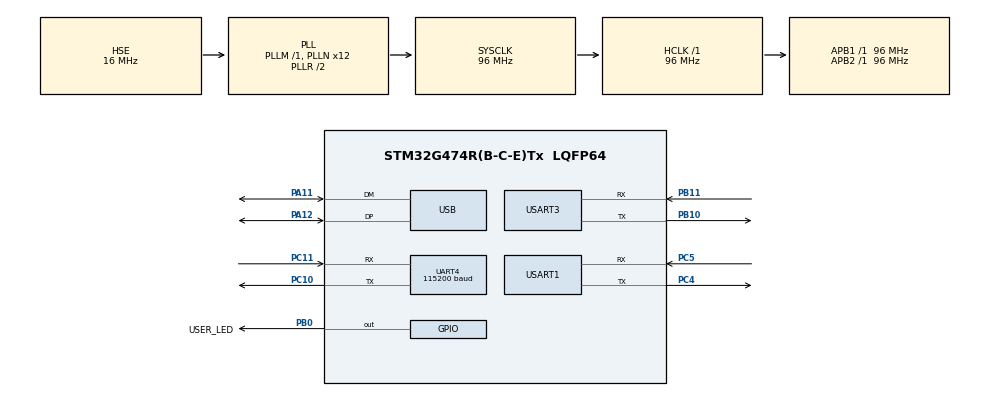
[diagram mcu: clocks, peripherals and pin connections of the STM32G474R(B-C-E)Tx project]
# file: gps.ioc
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IWDG.Prescaler=IWDG_PRESCALER_32
IWDG.Reload=999
IWDG.Window=999
Mcu.Family=STM32G4
Mcu.Name=STM32G474R(B-C-E)Tx
Mcu.Package=LQFP64
NVIC.PriorityGroup=NVIC_PRIORITYGROUP_4
NVIC.UART4_IRQn=true\:0\:0\:false\:false\:true\:true\:true\:true
NVIC.USART1_IRQn=true\:0\:0\:false\:false\:true\:true\:true\:true
NVIC.USART3_IRQn=true\:0\:0\:false\:false\:true\:true\:true\:true
NVIC.USB_HP_IRQn=true\:0\:0\:false\:false\:true\:true\:true\:true
NVIC.USB_LP_IRQn=true\:0\:0\:false\:false\:true\:true\:true\:true
PA11.Mode=Device
PA11.Signal=USB_DM
PA12.Mode=Device
PA12.Signal=USB_DP
PA13.Mode=Trace_Asynchronous_SW
PA13.Signal=SYS_JTMS-SWDIO
PA14.Mode=Trace_Asynchronous_SW
PA14.Signal=SYS_JTCK-SWCLK
PB0.GPIO_Label=USER_LED
PB0.Signal=GPIO_Output
PB10.Mode=Asynchronous
PB10.Signal=USART3_TX
PB11.Mode=Asynchronous
PB11.Signal=USART3_RX
PB3.Mode=Trace_Asynchronous_SW
PB3.Signal=SYS_JTDO-SWO
PC10.Mode=Asynchronous
PC10.Signal=UART4_TX
PC11.Mode=Asynchronous
PC11.Signal=UART4_RX
PC4.Mode=Asynchronous
PC4.Signal=USART1_TX
PC5.Mode=Asynchronous
PC5.Signal=USART1_RX
PF0-OSC_IN.Mode=HSE-External-Oscillator
PF0-OSC_IN.Signal=RCC_OSC_IN
PF1-OSC_OUT.Mode=HSE-External-Oscillator
PF1-OSC_OUT.Signal=RCC_OSC_OUT
ProjectManager.HeapSize=0x200
ProjectManager.StackSize=0x400
ProjectManager.TargetToolchain=CMake
RCC.ADC12Freq_Value=96000000
RCC.ADC345Freq_Value=96000000
RCC.AHBFreq_Value=96000000
RCC.APB1Freq_Value=96000000
RCC.APB1TimFreq_Value=96000000
RCC.APB2Freq_Value=96000000
RCC.APB2TimFreq_Value=96000000
RCC.CortexFreq_Value=96000000
RCC.EXTERNAL_CLOCK_VALUE=12288000
RCC.HCLKFreq_Value=96000000
RCC.HSE_VALUE=16000000
RCC.HSI48_VALUE=48000000
RCC.HSI_VALUE=16000000
RCC.LSE_VALUE=32768
RCC.PLLN=12
RCC.PLLQ=RCC_PLLQ_DIV4
RCC.PLLSourceVirtual=RCC_PLLSOURCE_HSE
RCC.SYSCLKFreq_VALUE=96000000
RCC.SYSCLKSource=RCC_SYSCLKSOURCE_PLLCLK
RCC.USBFreq_Value=48000000
RCC.VCOOutputFreq_Value=192000000
UART4.AutoBaudRateEnableParam=UART_ADVFEATURE_AUTOBAUDRATE_DISABLE
UART4.BaudRate=115200
UART4.ClockPrescaler=PRESCALER_DIV1
USART1.VirtualMode-Asynchronous=VM_ASYNC
USART3.VirtualMode-Asynchronous=VM_ASYNC
VP_IWDG_VS_IWDG.Mode=IWDG_Activate
VP_SYS_VS_DBSignals.Mode=DisableDeadBatterySignals
board=custom

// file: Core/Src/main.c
/* USER CODE BEGIN Header */
/**
  ******************************************************************************
  * @file           : main.c
  * @brief          : Main program body
  ******************************************************************************
  * @attention
  *
  * Copyright (c) 2026 STMicroelectronics.
  * All rights reserved.
  *
  * This software is licensed under terms that can be found in the LICENSE file
  * in the root directory of this software component.
  * If no LICENSE file comes with this software, it is provided AS-IS.
  *
  ******************************************************************************
  */
/* USER CODE END Header */
#include "main.h"

/* USER CODE BEGIN Includes */
#include "class/cdc/cdc_device.h"
#include "cmsis_gcc.h"
#include "stm32g474xx.h"
#include "stm32g4xx_hal_def.h"
#include "stm32g4xx_hal_gpio.h"
#include "stm32g4xx_hal_uart.h"
#include "stm32g4xx_hal_uart_ex.h"
#include "tinygps.h"
#include "rosjam.h"
#include "tusb_config.h"
#include "tusb.h"
#include "cobs.h"
#include <stdbool.h>
#include <stdint.h>
#include <stdio.h>
#include <string.h>

/* USER CODE END Includes */

/* USER CODE BEGIN PD */
#define WATCHDOG_ENABLE
/* USER CODE END PD */

IWDG_HandleTypeDef hiwdg;

UART_HandleTypeDef huart4;
UART_HandleTypeDef huart1;
UART_HandleTypeDef huart3;

PCD_HandleTypeDef hpcd_USB_FS;

/* USER CODE BEGIN PV */
// Bridges three UARTs (GPS on USART3, pantilt on USART1, and terminal on UART4)
// to a host over USB CDC, with each message framed as COBS([type][payload])

// Define ms between reporting of diagnostic data (valid/error GPS packets received)
#define DIAG_REPORT_PERIOD_MS 500

#define GPS_TYPE GPS_UBX

char satellites[50];
char latitude[50];
char longitude[50];
char heading[50];

gps_t gps;

#define GPS_BUFFER_SIZE (UBX_MAX_PAYLOAD)
static uint8_t gps_buffers[2][GPS_BUFFER_SIZE];
static int buffer_sizes[2];
static volatile int gps_index = 0;        // Buffer currently armed for receive
static int gps_ready[2] = {0, 0}; // Buffers holding bytes not yet run through gps_process()

UART_HandleTypeDef *pantilt_uart = &huart1;

// Pantilt expects lines as "pan,tilt\n" (type 'p')
// Rest is forwarded as type 's' (status) so malformed data is still visible to host
#define PANTILT_BUFFER_SIZE 100
static uint8_t pantilt_buffers[2][PANTILT_BUFFER_SIZE];
static volatile int pantilt_index = 0;
volatile int pantilt_ready = 0;

UART_HandleTypeDef *term_uart = &huart4;

// Terminal relayed to/from the host as opaque type 't' payloads
#define TERM_BUFFER_SIZE 100
static uint8_t term_buffers[2][TERM_BUFFER_SIZE];
static volatile int term_index = 0;
static volatile int term_ready = 0;
static volatile uint16_t term_size = 0;

// Commands from the host over USB
// Decoded in chunks from USB CDC using COBS until a full command is found
#define CMD_BUFFER_SIZE 256
static uint8_t cmd_buf[CMD_BUFFER_SIZE];
static int cmd_len = 0;
static bool cmd_overflow = false; // Drop frame if exceeded CMD_BUFFER_SIZE
static cobs_reader_t usb_cobs_reader;
static uint8_t usb_chunk[64];
static uint32_t usb_chunk_len = 0;

// Diagnostic drop/error counters, reported periodically via send_frame('d', ...)
static volatile uint32_t usb_tx_dropped = 0;
static volatile uint32_t uart_errors = 0;

// Byte ring buffer for outbound UART data queued while a previous
#define TXQ_SIZE 512            // Must be power of two
#define TXQ_MASK (TXQ_SIZE - 1) // Use for heat/tail wrap using bitmask

typedef struct {
  UART_HandleTypeDef *huart;
  uint8_t  buf[TXQ_SIZE];
  volatile uint16_t head;     // Next free slot to write to
  volatile uint16_t tail;     // Last unsent byte
  volatile uint16_t inflight; // Bytes in the current transmit
  volatile uint8_t  busy;     // Transmit currently in flight
  volatile uint32_t dropped;
} txq_t;

static txq_t pantilt_txq;
static txq_t term_txq;
/* USER CODE END PV */

void SystemClock_Config(void);
static void MX_GPIO_Init(void);
static void MX_USB_PCD_Init(void);
static void MX_UART4_Init(void);
static void MX_USART3_UART_Init(void);
static void MX_USART1_UART_Init(void);
static void MX_IWDG_Init(void);

/* USER CODE BEGIN 0 */

// Enqueues n bytes for later transmission. Returns 0 and counts a drop if they don't fit.
static int txq_push(txq_t *q, const uint8_t *d, int n) {
  uint16_t head = q->head;
  uint16_t used = (uint16_t)(head - q->tail) & TXQ_MASK;

  if (n < 0 || (uint16_t)n > (TXQ_MASK - used)) {
    q->dropped++;
    return 0;
  }

  for (int i = 0; i < n; i++) q->buf[(head + i) & TXQ_MASK] = d[i];
  q->head = (uint16_t)(head + n) & TXQ_MASK;
  return 1;
}

// Starts the next transmit chunk if the UART is idle and data is queued for main loop only
// Only sends up to the end of the array when the data wraps (head < tail), rest on next call
static void txq_kick(txq_t *q) {
  if (q->busy) return;
  uint16_t head = q->head;
  uint16_t tail = q->tail;
  if (head == tail) return;
  uint16_t len = (head > tail) ? (uint16_t)(head - tail) : (uint16_t)(TXQ_SIZE - tail);

  q->busy = 1;
  q->inflight = len;
  if (HAL_UART_Transmit_IT(q->huart, &q->buf[tail], len) != HAL_OK) q->busy = 0;
}

// Encodes [type][payload] as one COBS frame and writes it to USB CDC
// Flushes first to not merge with previous write
static void send_frame(uint8_t type, const uint8_t *payload, int payload_len) {
  tud_cdc_n_write_flush(USB_CDC_ITF);
  uint8_t raw[CMD_BUFFER_SIZE];
  uint8_t encoded[cobs_estimate_encoded_size(CMD_BUFFER_SIZE)]; // Worst case COBS overhead
  if (payload_len < 0 || payload_len > (int)sizeof(raw) - 1) return;
  raw[0] = type;
  if (payload_len > 0) memcpy(raw + 1, payload, payload_len);
  int n = cobs_encode(raw, payload_len + 1, encoded, sizeof(encoded), 0);
  if (n <= 0) return;
  if (tud_cdc_n_write_available(USB_CDC_ITF) < (uint32_t)n) { usb_tx_dropped++; return; }
  send_msg_raw((char*)encoded, n);
}

// Dispatches one decoded [type][payload] USB frame from the host
// - 'p' = line for the pan/tilt UART
// - 't' = raw bytes for the terminal UART.
static void process_usb_frame(uint8_t *frame, int len) {
  if (len < 1) return;
  uint8_t type = frame[0];
  uint8_t *payload = frame + 1;
  int payload_len = len - 1;

  switch (type) {
    case 'p':
      if (payload_len > 0 && payload_len < 100) {
        uint8_t line[100];
        memcpy(line, payload, payload_len);
        line[payload_len] = '\n';
        txq_push(&pantilt_txq, line, payload_len + 1);
      }
      break;
    case 't':
      txq_push(&term_txq, payload, payload_len);
      break;
  }
}
/* USER CODE END 0 */

int main(void)
{

  /* MCU Configuration--------------------------------------------------------*/

  /* Reset of all peripherals, Initializes the Flash interface and the Systick. */
  HAL_Init();

  /* Configure the system clock */
  SystemClock_Config();

  /* Initialize all configured peripherals */
  MX_GPIO_Init();
  MX_USB_PCD_Init();
  MX_UART4_Init();
  MX_USART3_UART_Init();
  MX_USART1_UART_Init();
  MX_IWDG_Init();
  /* USER CODE BEGIN 2 */
  setup_simple();
  cobs_setup_stream_reader(&usb_cobs_reader);
  pantilt_txq.huart = pantilt_uart;
  term_txq.huart = term_uart;

  gps_init(&gps, GPS_TYPE, &huart3, true);
  HAL_UARTEx_ReceiveToIdle_IT(gps.huart, gps_buffers[gps_index], GPS_BUFFER_SIZE);

  HAL_UARTEx_ReceiveToIdle_IT(pantilt_uart, pantilt_buffers[pantilt_index], PANTILT_BUFFER_SIZE);
  HAL_UARTEx_ReceiveToIdle_IT(term_uart, term_buffers[term_index], TERM_BUFFER_SIZE);
  /* USER CODE END 2 */

  /* Infinite loop */
  /* USER CODE BEGIN WHILE */
  while (!tud_cdc_ready()){
    process_simple(); // Keep USB connection running until ready
#ifdef WATCHDOG_ENABLE
    HAL_IWDG_Refresh(&hiwdg);
#endif
  }

  char* startup_message = "GPS Ready";
  send_frame('s', (uint8_t*) startup_message, strlen(startup_message));

  while (1) {
    // Drain the GPS buffer not currently being filled
    if (gps_ready[0] || gps_ready[1]) {
      int gps_filled_index = (gps_index == 0) ? 1 : 0;
      if (gps_ready[gps_filled_index] != 0){
        uint8_t *buf = gps_buffers[gps_filled_index];
        for (int i = 0; i < buffer_sizes[gps_filled_index]; i++) gps_process(&gps, buf[i]);
        gps_ready[gps_filled_index] = 0;
      }
    }

    gps_data_t data;
    bool got_fix = gps_read_snapshot(&gps, &data);
    if (got_fix) {
      HAL_GPIO_TogglePin(USER_LED_GPIO_Port, USER_LED_Pin); // Blink LED for GPS processing

      int_to_string(data.numSV, satellites, 50);
      float_to_string(data.lat, 8, latitude, 50);
      float_to_string(data.lon, 8, longitude, 50);
      float_to_string(data.headMot, 8, heading, 50);

      char gps_payload[200];
      int gps_payload_len = snprintf(gps_payload, sizeof(gps_payload), "%s,%s,%s,%s", satellites, latitude, longitude, heading);
      send_frame('g', (uint8_t*)gps_payload, gps_payload_len);
    }

    // Diagnostic data to check whether GPS is working as expected
    static uint32_t last_status_tick = 0;
    uint32_t now = HAL_GetTick();
    if (now - last_status_tick >= DIAG_REPORT_PERIOD_MS) {
      last_status_tick = now;
      char status_payload[64];
      int status_len = snprintf(status_payload, sizeof(status_payload), "%lu,%lu,%lu,%lu,%lu,%lu",
        (unsigned long)gps_get_valid_frames(&gps), (unsigned long)gps_get_error_frames(&gps),
        (unsigned long)pantilt_txq.dropped, (unsigned long)term_txq.dropped,
        (unsigned long)usb_tx_dropped, (unsigned long)uart_errors);
      send_frame('d', (uint8_t*)status_payload, status_len);
    }

    // Send pantilt angle reporting to Jetson. A valid line is "pan,tilt\n"
    // Otherwise, send as status message from pantilt
    if (pantilt_ready == 1) {
      int pantilt_filled_index = (pantilt_index == 0) ? 1 : 0;
      char *parsed = (char*)pantilt_buffers[pantilt_filled_index];
      int comma_count = 0;
      int newline_pos = -1;

      for (int i = 0; i < PANTILT_BUFFER_SIZE - 1; i++) {
        if (parsed[i] == ',') comma_count++;
        if (parsed[i] == '\n') {
          newline_pos = i;
          break;
        }
      }

      if (comma_count == 1 && newline_pos >= 0) {
        send_frame('p', (uint8_t*)parsed, newline_pos);
      } else {
        send_frame('s', (uint8_t*)parsed, newline_pos);
      }

      pantilt_ready = 0;
    }

    // Send terminal output to Jetson
    if (term_ready) {
      int term_filled_index = (term_index == 0) ? 1 : 0;
      send_frame('t', term_buffers[term_filled_index], term_size);
      term_ready = 0;
    }

    // Pull chunk sent over USB CDC into usb_chunk for decode
    if (usb_chunk_len < sizeof(usb_chunk)) {
      usb_chunk_len += tud_cdc_n_read(USB_CDC_ITF, usb_chunk + usb_chunk_len, sizeof(usb_chunk) - usb_chunk_len);
    }

    if (usb_chunk_len > 0) {
      cobs_result_t r = cobs_stream_decode(&usb_cobs_reader, usb_chunk, usb_chunk_len,
                                            cmd_buf + cmd_len, CMD_BUFFER_SIZE - cmd_len, 0);
      cmd_len += usb_cobs_reader.last_written_bytes;

      if (r == COBS_INCOMPLETE_FRAME) {
        // Frame not finished, cmd_len keeps what is currently decoded for next iteration
        usb_chunk_len = 0;
      } else {
        uint32_t consumed = usb_cobs_reader.last_read_bytes;

        if (r == COBS_DONE) {
          if (!cmd_overflow) process_usb_frame(cmd_buf, cmd_len);
          cmd_len = 0;
          cmd_overflow = false;
        } else if (r == COBS_OUTPUT_FULL) {
          // Frame too big for cmd_buf, drops command
          cmd_len = 0;
          cmd_overflow = true;
        } else if (r == COBS_RESET) {
          cmd_len = 0;
          cmd_overflow = false;
        }

        // Shift unconsumed bytes (e.g. frame ending mid-chunk) to the front for next iteration
        uint32_t leftover = usb_chunk_len - consumed;
        if (leftover > 0 && consumed > 0) memmove(usb_chunk, usb_chunk + consumed, leftover);
        usb_chunk_len = leftover;
      }
    }

    txq_kick(&pantilt_txq);
    txq_kick(&term_txq);

    process_simple();

#ifdef WATCHDOG_ENABLE
    HAL_IWDG_Refresh(&hiwdg);
#endif
    /* USER CODE END WHILE */

  }
}

void SystemClock_Config(void)
{
  RCC_OscInitTypeDef RCC_OscInitStruct = {0};
  RCC_ClkInitTypeDef RCC_ClkInitStruct = {0};

  /** Configure the main internal regulator output voltage
  */
  HAL_PWREx_ControlVoltageScaling(PWR_REGULATOR_VOLTAGE_SCALE1);

  /** Initializes the RCC Oscillators according to the specified parameters
  * in the RCC_OscInitTypeDef structure.
  */
  RCC_OscInitStruct.OscillatorType = RCC_OSCILLATORTYPE_LSI|RCC_OSCILLATORTYPE_HSE;
  RCC_OscInitStruct.HSEState = RCC_HSE_ON;
  RCC_OscInitStruct.LSIState = RCC_LSI_ON;
  RCC_OscInitStruct.PLL.PLLState = RCC_PLL_ON;
  RCC_OscInitStruct.PLL.PLLSource = RCC_PLLSOURCE_HSE;
  RCC_OscInitStruct.PLL.PLLM = RCC_PLLM_DIV1;
  RCC_OscInitStruct.PLL.PLLN = 12;
  RCC_OscInitStruct.PLL.PLLP = RCC_PLLP_DIV2;
  RCC_OscInitStruct.PLL.PLLQ = RCC_PLLQ_DIV4;
  RCC_OscInitStruct.PLL.PLLR = RCC_PLLR_DIV2;
  if (HAL_RCC_OscConfig(&RCC_OscInitStruct) != HAL_OK)
  {
    Error_Handler();
  }

  /** Initializes the CPU, AHB and APB buses clocks
  */
  RCC_ClkInitStruct.ClockType = RCC_CLOCKTYPE_HCLK|RCC_CLOCKTYPE_SYSCLK
                              |RCC_CLOCKTYPE_PCLK1|RCC_CLOCKTYPE_PCLK2;
  RCC_ClkInitStruct.SYSCLKSource = RCC_SYSCLKSOURCE_PLLCLK;
  RCC_ClkInitStruct.AHBCLKDivider = RCC_SYSCLK_DIV1;
  RCC_ClkInitStruct.APB1CLKDivider = RCC_HCLK_DIV1;
  RCC_ClkInitStruct.APB2CLKDivider = RCC_HCLK_DIV1;

  if (HAL_RCC_ClockConfig(&RCC_ClkInitStruct, FLASH_LATENCY_3) != HAL_OK)
  {
    Error_Handler();
  }
}

static void MX_IWDG_Init(void)
{

  /* USER CODE BEGIN IWDG_Init 0 */
#ifndef WATCHDOG_ENABLE
  return;
#endif
  /* USER CODE END IWDG_Init 0 */

  hiwdg.Instance = IWDG;
  hiwdg.Init.Prescaler = IWDG_PRESCALER_32;
  hiwdg.Init.Window = 999;
  hiwdg.Init.Reload = 999;
  if (HAL_IWDG_Init(&hiwdg) != HAL_OK)
  {
    Error_Handler();
  }

}

static void MX_UART4_Init(void)
{

  huart4.Instance = UART4;
  huart4.Init.BaudRate = 115200;
  huart4.Init.WordLength = UART_WORDLENGTH_8B;
  huart4.Init.StopBits = UART_STOPBITS_1;
  huart4.Init.Parity = UART_PARITY_NONE;
  huart4.Init.Mode = UART_MODE_TX_RX;
  huart4.Init.HwFlowCtl = UART_HWCONTROL_NONE;
  huart4.Init.OverSampling = UART_OVERSAMPLING_16;
  huart4.Init.OneBitSampling = UART_ONE_BIT_SAMPLE_DISABLE;
  huart4.Init.ClockPrescaler = UART_PRESCALER_DIV1;
  huart4.AdvancedInit.AdvFeatureInit = UART_ADVFEATURE_NO_INIT;
  if (HAL_UART_Init(&huart4) != HAL_OK)
  {
    Error_Handler();
  }
  if (HAL_UARTEx_SetTxFifoThreshold(&huart4, UART_TXFIFO_THRESHOLD_1_8) != HAL_OK)
  {
    Error_Handler();
  }
  if (HAL_UARTEx_SetRxFifoThreshold(&huart4, UART_RXFIFO_THRESHOLD_1_8) != HAL_OK)
  {
    Error_Handler();
  }
  if (HAL_UARTEx_DisableFifoMode(&huart4) != HAL_OK)
  {
    Error_Handler();
  }

}

static void MX_USART1_UART_Init(void)
{

  huart1.Instance = USART1;
  huart1.Init.BaudRate = 115200;
  huart1.Init.WordLength = UART_WORDLENGTH_8B;
  huart1.Init.StopBits = UART_STOPBITS_1;
  huart1.Init.Parity = UART_PARITY_NONE;
  huart1.Init.Mode = UART_MODE_TX_RX;
  huart1.Init.HwFlowCtl = UART_HWCONTROL_NONE;
  huart1.Init.OverSampling = UART_OVERSAMPLING_16;
  huart1.Init.OneBitSampling = UART_ONE_BIT_SAMPLE_DISABLE;
  huart1.Init.ClockPrescaler = UART_PRESCALER_DIV1;
  huart1.AdvancedInit.AdvFeatureInit = UART_ADVFEATURE_NO_INIT;
  if (HAL_UART_Init(&huart1) != HAL_OK)
  {
    Error_Handler();
  }
  if (HAL_UARTEx_SetTxFifoThreshold(&huart1, UART_TXFIFO_THRESHOLD_1_8) != HAL_OK)
  {
    Error_Handler();
  }
  if (HAL_UARTEx_SetRxFifoThreshold(&huart1, UART_RXFIFO_THRESHOLD_1_8) != HAL_OK)
  {
    Error_Handler();
  }
  if (HAL_UARTEx_DisableFifoMode(&huart1) != HAL_OK)
  {
    Error_Handler();
  }

}

static void MX_USART3_UART_Init(void)
{

  huart3.Instance = USART3;
  huart3.Init.BaudRate = 115200;
  huart3.Init.WordLength = UART_WORDLENGTH_8B;
  huart3.Init.StopBits = UART_STOPBITS_1;
  huart3.Init.Parity = UART_PARITY_NONE;
  huart3.Init.Mode = UART_MODE_TX_RX;
  huart3.Init.HwFlowCtl = UART_HWCONTROL_NONE;
  huart3.Init.OverSampling = UART_OVERSAMPLING_16;
  huart3.Init.OneBitSampling = UART_ONE_BIT_SAMPLE_DISABLE;
  huart3.Init.ClockPrescaler = UART_PRESCALER_DIV1;
  huart3.AdvancedInit.AdvFeatureInit = UART_ADVFEATURE_NO_INIT;
  if (HAL_UART_Init(&huart3) != HAL_OK)
  {
    Error_Handler();
  }
  if (HAL_UARTEx_SetTxFifoThreshold(&huart3, UART_TXFIFO_THRESHOLD_1_8) != HAL_OK)
  {
    Error_Handler();
  }
  if (HAL_UARTEx_SetRxFifoThreshold(&huart3, UART_RXFIFO_THRESHOLD_1_8) != HAL_OK)
  {
    Error_Handler();
  }
  if (HAL_UARTEx_DisableFifoMode(&huart3) != HAL_OK)
  {
    Error_Handler();
  }

}

static void MX_USB_PCD_Init(void)
{

  hpcd_USB_FS.Instance = USB;
  hpcd_USB_FS.Init.dev_endpoints = 8;
  hpcd_USB_FS.Init.speed = PCD_SPEED_FULL;
  hpcd_USB_FS.Init.phy_itface = PCD_PHY_EMBEDDED;
  hpcd_USB_FS.Init.Sof_enable = DISABLE;
  hpcd_USB_FS.Init.low_power_enable = DISABLE;
  hpcd_USB_FS.Init.lpm_enable = DISABLE;
  hpcd_USB_FS.Init.battery_charging_enable = DISABLE;
  if (HAL_PCD_Init(&hpcd_USB_FS) != HAL_OK)
  {
    Error_Handler();
  }

}

static void MX_GPIO_Init(void)
{
  GPIO_InitTypeDef GPIO_InitStruct = {0};

  /* GPIO Ports Clock Enable */
  __HAL_RCC_GPIOF_CLK_ENABLE();
  __HAL_RCC_GPIOC_CLK_ENABLE();
  __HAL_RCC_GPIOB_CLK_ENABLE();
  __HAL_RCC_GPIOA_CLK_ENABLE();

  /*Configure GPIO pin Output Level */
  HAL_GPIO_WritePin(USER_LED_GPIO_Port, USER_LED_Pin, GPIO_PIN_RESET);

  /*Configure GPIO pin : USER_LED_Pin */
  GPIO_InitStruct.Pin = USER_LED_Pin;
  GPIO_InitStruct.Mode = GPIO_MODE_OUTPUT_PP;
  GPIO_InitStruct.Pull = GPIO_NOPULL;
  GPIO_InitStruct.Speed = GPIO_SPEED_FREQ_LOW;
  HAL_GPIO_Init(USER_LED_GPIO_Port, &GPIO_InitStruct);

}

/* USER CODE BEGIN 4 */

int __io_putchar(int ch)
{
 ITM_SendChar(ch);
 return(ch);
}

// Re-arm UART after an error leaves receive un-armed
// Also clears busy flag so a transmit error doesn't break UART transmit
void HAL_UART_ErrorCallback(UART_HandleTypeDef *huart){
  uart_errors++;

  if (huart == gps.huart) {
    HAL_UARTEx_ReceiveToIdle_IT(gps.huart, gps_buffers[gps_index], GPS_BUFFER_SIZE);
  }
  if (huart == pantilt_uart) {
    pantilt_txq.busy = 0;
    HAL_UARTEx_ReceiveToIdle_IT(pantilt_uart, pantilt_buffers[pantilt_index], PANTILT_BUFFER_SIZE);
  }
  if (huart == term_uart) {
    term_ready = 0;
    term_txq.busy = 0;
    HAL_UARTEx_ReceiveToIdle_IT(term_uart, term_buffers[term_index], TERM_BUFFER_SIZE);
  }
}

// Fires when a buffer fills or the line goes idle
// Marks it ready, swaps buffer, and re-arms UART receive
void HAL_UARTEx_RxEventCallback(UART_HandleTypeDef *huart, uint16_t Size) {
  if (huart == pantilt_uart) {
    pantilt_index = (pantilt_index == 0) ? 1 : 0;
    pantilt_ready = 1;
    HAL_UARTEx_ReceiveToIdle_IT(pantilt_uart, pantilt_buffers[pantilt_index], PANTILT_BUFFER_SIZE);
  } else if (huart == term_uart) {
    term_size = Size;
    term_index = (term_index == 0) ? 1 : 0;
    term_ready = 1;
    HAL_UARTEx_ReceiveToIdle_IT(term_uart, term_buffers[term_index], TERM_BUFFER_SIZE);
  } else if (huart == gps.huart){
    buffer_sizes[gps_index] = Size;
    gps_ready[gps_index] = 1;
    gps_index = (gps_index == 0) ? 1 : 0;
    HAL_UARTEx_ReceiveToIdle_IT(gps.huart, gps_buffers[gps_index], GPS_BUFFER_SIZE);
  }
}

// Advances tail past the chunk that just finished sending and clears busy
void HAL_UART_TxCpltCallback(UART_HandleTypeDef *huart) {
  txq_t *q;
  if (huart == pantilt_uart) q = &pantilt_txq;
  else if (huart == term_uart) q = &term_txq;
  else return;

  q->tail = (uint16_t)(q->tail + q->inflight) & TXQ_MASK;
  q->busy = 0;
}
/* USER CODE END 4 */

void Error_Handler(void)
{
  /* USER CODE BEGIN Error_Handler_Debug */
  __disable_irq();
  while (1)
  {
    // Blink LED fast if something went wrong
    HAL_GPIO_TogglePin(USER_LED_GPIO_Port, USER_LED_Pin);
    for (volatile int i = 0; i < 500000; i++);
  }
  /* USER CODE END Error_Handler_Debug */
}
